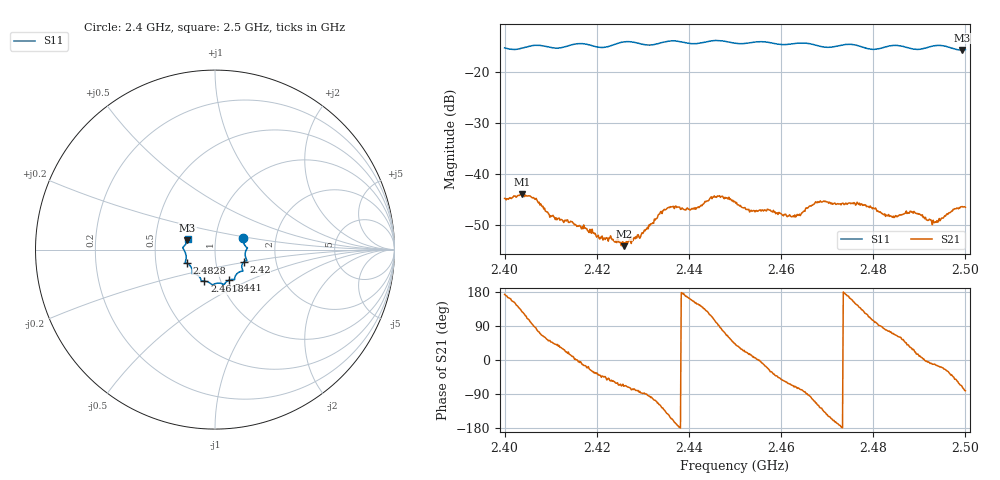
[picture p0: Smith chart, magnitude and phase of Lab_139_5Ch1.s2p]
# Hz S RI R 50
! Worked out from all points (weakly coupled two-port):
!   601 points, 2.4 GHz to 2.5 GHz, reference 50 ohm
!   highest |S21| = -44.05 dB at 2.4038 GHz (marker M1); lowest = -54.2 dB at 2.4258 GHz (marker M2)
!   lowest |S11| = -15.8 dB at 2.4993 GHz (marker M3), VSWR 1.39, Z = 36.5 + j3.85 ohm
!   |S11| at or under -10 dB: start of sweep to end of sweep
!   S12 and S22 are empty: the file has one direction only
!   S11 on the Smith chart (normalised r, x): 2.4 GHz: 1.36, +0.18; 2.42 GHz: 1.36, -0.20; 2.441 GHz: 1.10, -0.39; 2.4618 GHz: 0.84, -0.30; 2.4828 GHz: 0.72, -0.11; 2.5 GHz: 0.73, +0.09
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2.4e9  0.1583 0.0629  -0.00566 0.000688  0 0  0 0
2.403833e9  0.1684 0.0207  -0.00375 0.00503  0 0  0 0
2.406667e9  0.1803 0.00989  0.000423 0.00556  0 0  0 0
2.410167e9  0.1713 -0.00771  0.00257 0.00279  0 0  0 0
2.416667e9  0.1775 -0.0608  0.00284 -0.000406  0 0  0 0
2.42e9  0.1593 -0.0703  0.00197 -0.00134  0 0  0 0
2.425833e9  0.1561 -0.1169  0.000691 -0.00181  0 0  0 0
2.429667e9  0.1395 -0.1229  0.000134 -0.00253  0 0  0 0
2.433333e9  0.1116 -0.151  -0.00159 -0.00359  0 0  0 0
2.436167e9  0.1091 -0.1669  -0.00428 -0.00198  0 0  0 0
2.441e9  0.0785 -0.1699  -0.00416 0.00191  0 0  0 0
2.446e9  0.0499 -0.195  -0.000794 0.00578  0 0  0 0
2.45e9  0.0285 -0.1871  0.00386 0.0036  0 0  0 0
2.461833e9  -0.0594 -0.1754  0.00177 -0.00353  0 0  0 0
2.466667e9  -0.0783 -0.1681  -0.000997 -0.00478  0 0  0 0
2.477e9  -0.1267 -0.1242  -0.00384 0.00338  0 0  0 0
2.482833e9  -0.1573 -0.0767  0.000725 0.00385  0 0  0 0
2.483333e9  -0.1604 -0.0754  0.000978 0.00385  0 0  0 0
2.4885e9  -0.1607 -0.0433  0.00374 0.00193  0 0  0 0
2.493167e9  -0.1783 0.00545  0.00325 -0.000649  0 0  0 0
2.499333e9  -0.1538 0.0514  0.00151 -0.00451  0 0  0 0
2.5e9  -0.1522 0.0608  0.000722 -0.00462  0 0  0 0
